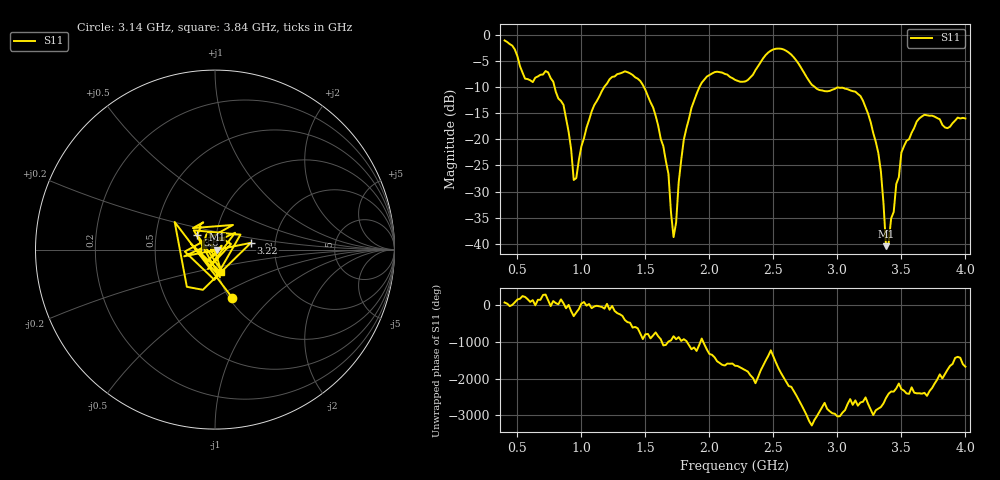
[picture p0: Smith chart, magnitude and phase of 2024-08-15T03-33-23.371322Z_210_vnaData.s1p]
!Created with skrf (http://scikit-rf.org).
# Hz S RI R 50.0
!freq ReS11 ImS11
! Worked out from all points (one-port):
!   181 points, 400 MHz to 4 GHz, reference 50 ohm
!   lowest |S11| = -40.5 dB at 3.38 GHz (marker M1), VSWR 1.02, Z = 51 - j0.0678 ohm
!   |S11| at or under -10 dB: 790.7 MHz to 1.178 GHz (387 MHz wide, 39.3 % of centre); 1.489 GHz to 1.922 GHz (433.4 MHz wide, 25.4 % of centre); 2.824 GHz to end of sweep
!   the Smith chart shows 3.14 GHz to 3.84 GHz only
!   S11 on the Smith chart (normalised r, x): 3.14 GHz: 1.03, -0.61; 3.22 GHz: 1.49, +0.12; 3.6 GHz: 0.81, +0.14; 3.84 GHz: 1.03, -0.26
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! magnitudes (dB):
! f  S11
! 400 MHz  -1.1
! 560 MHz  -8.4
! 740 MHz  -7.2
! 860 MHz  -13.4
! 940 MHz  -27.8
! 1.1 GHz  -13.5
! 1.3 GHz  -7.4
! 1.46 GHz  -8.8
! 1.56 GHz  -13.9
! 1.68 GHz  -26.6
! 1.72 GHz  -38.7
! 1.76 GHz  -28.2
! 1.82 GHz  -17.9
! 1.94 GHz  -9.2
! 2.2 GHz  -8.6
! 2.5 GHz  -2.8
! 2.66 GHz  -4.3
! 2.84 GHz  -10.3
! 3.1 GHz  -10.6
! 3.14 GHz  -10.9
! 3.22 GHz  -13.8
! 3.32 GHz  -22.6
! 3.38 GHz  -40.5
! 3.5 GHz  -22.5
! 3.56 GHz  -20.0
! 3.6 GHz  -17.8
! 3.84 GHz  -17.7
! 4 GHz  -16.0
